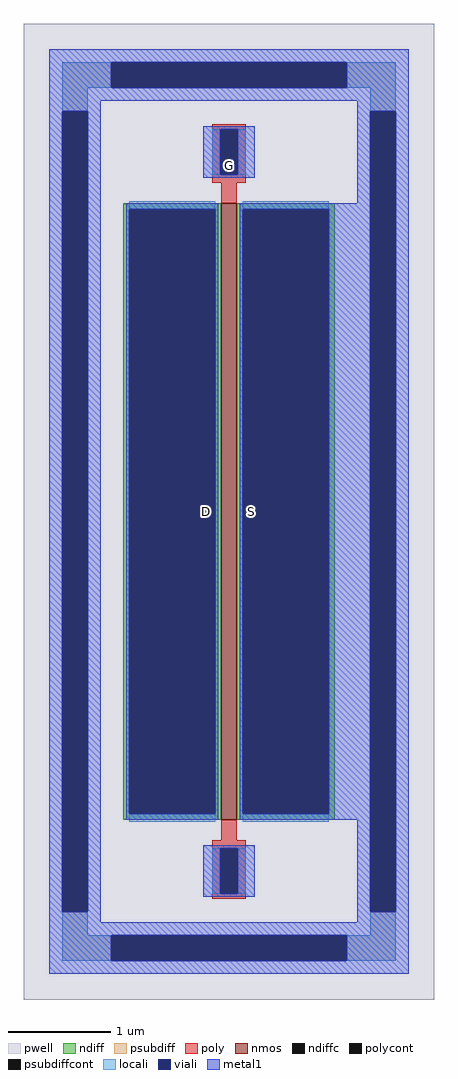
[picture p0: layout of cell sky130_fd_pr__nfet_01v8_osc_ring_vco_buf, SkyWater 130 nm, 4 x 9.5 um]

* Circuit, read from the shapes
.subckt sky130_fd_pr__nfet_01v8_osc_ring_vco_buf D S G
XM1 S G D S sky130_fd_pr__nfet_01v8 w=6 l=0.15
.ends

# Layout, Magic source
magic
tech sky130A
magscale 1 2
<< pwell >>
rect -400 -950 400 950
<< nmos >>
rect -15 -600 15 600
<< ndiff >>
rect -206 588 -15 600
rect -206 -588 -194 588
rect -27 -588 -15 588
rect -206 -600 -15 -588
rect 15 588 206 600
rect 15 -588 27 588
rect 194 -588 206 588
rect 15 -600 206 -588
<< ndiffc >>
rect -194 -588 -27 588
rect 27 -588 194 588
<< psubdiff >>
rect -325 825 -229 875
rect 229 825 325 875
rect -325 779 -275 825
rect 275 779 325 825
rect -325 -825 -275 -779
rect 275 -825 325 -779
rect -325 -875 -229 -825
rect 229 -875 325 -825
<< psubdiffcont >>
rect -229 825 229 875
rect -325 -779 -275 779
rect 275 -779 325 779
rect -229 -875 229 -825
<< poly >>
rect -33 744 33 754
rect -33 656 -17 744
rect 17 656 33 744
rect -33 640 33 656
rect -15 600 15 640
rect -15 -640 15 -600
rect -33 -656 33 -640
rect -33 -744 -17 -656
rect 17 -744 33 -656
rect -33 -754 33 -744
<< polycont >>
rect -17 656 17 744
rect -17 -744 17 -656
<< locali >>
rect -325 825 -229 875
rect 229 825 325 875
rect -325 779 -275 825
rect 275 779 325 825
rect -33 656 -17 744
rect 17 656 33 744
rect -194 588 -27 604
rect -194 -604 -27 -588
rect 27 588 194 604
rect 27 -604 194 -588
rect -33 -744 -17 -656
rect 17 -744 33 -656
rect -325 -825 -275 -779
rect 275 -825 325 -779
rect -325 -875 -229 -825
rect 229 -875 325 -825
<< viali >>
rect -229 825 229 875
rect -325 -779 -275 779
rect -17 656 17 744
rect -194 -588 -27 588
rect 27 -588 194 588
rect -17 -744 17 -656
rect 275 -779 325 779
rect -229 -875 229 -825
<< metal1 >>
rect -350 875 350 900
rect -350 825 -229 875
rect 229 825 350 875
rect -350 800 350 825
rect -350 779 -250 800
rect -350 -779 -325 779
rect -275 -779 -250 779
rect 250 779 350 800
rect -50 744 50 750
rect -50 656 -17 744
rect 17 656 50 744
rect -50 650 50 656
rect 250 600 275 779
rect -200 588 -21 600
rect -200 -588 -194 588
rect -27 -588 -21 588
rect -200 -600 -21 -588
rect 21 588 275 600
rect 21 -588 27 588
rect 194 -588 275 588
rect 21 -600 275 -588
rect -50 -656 50 -650
rect -50 -744 -17 -656
rect 17 -744 50 -656
rect -50 -750 50 -744
rect -350 -800 -250 -779
rect 250 -779 275 -600
rect 325 -779 350 779
rect 250 -800 350 -779
rect -350 -825 350 -800
rect -350 -875 -229 -825
rect 229 -875 350 -825
rect -350 -900 350 -875
<< labels >>
rlabel ndiffc -44 0 -44 0 0 D
port 6 nsew
rlabel ndiffc 44 0 44 0 0 S
port 7 nsew
rlabel polycont 0 673 0 673 0 G
port 8 nsew
<< end >>
